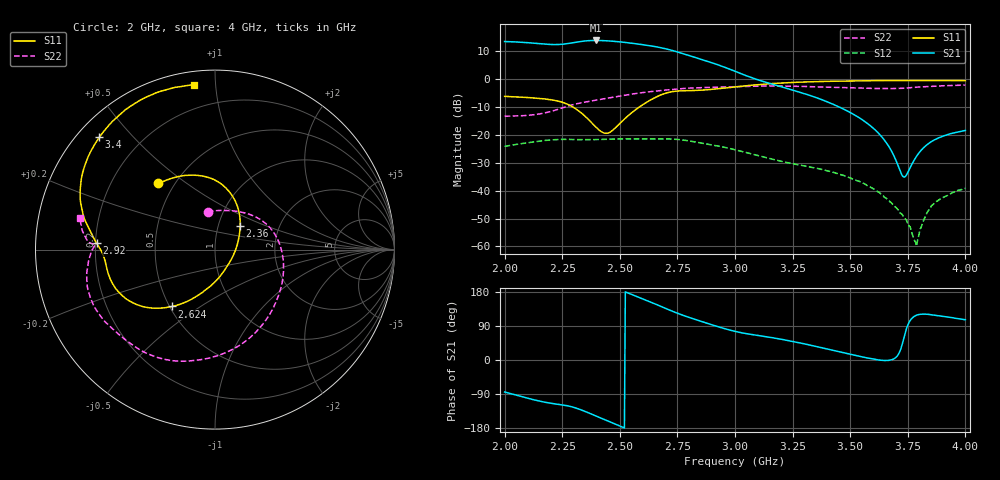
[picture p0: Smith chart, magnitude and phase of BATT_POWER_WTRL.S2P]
!Agilent Technologies,E5071C,MY46107443,A.09.30
!Date: Tue May 03 14:29:19 2016
!Data & Calibration Information:
!Freq	S11:SOLT2(ON)	S21:SOLT2(ON)	S12:SOLT2(ON)	S22:SOLT2(ON)
# Hz S dB R 50
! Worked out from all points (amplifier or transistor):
!   501 points, 2 GHz to 4 GHz, reference 50 ohm
!   highest |S21| = 13.7 dB at 2.396 GHz (marker M1)
!   |S21| within 3 dB of that: start of sweep to 2.701 GHz
!   unconditionally stable (mu >= 1): start of sweep to end of sweep
!   at 2.332 GHz: K = 1.17, MAG = 15.1 dB, |S12| = -21.8 dB
!   at 3 GHz: K = 1.83, MAG = 8.8 dB, |S12| = -25.4 dB
!   at 4 GHz: K = 22.31, MAG = -6.1 dB, |S12| = -39.2 dB
!   S11 on the Smith chart (normalised r, x): 2 GHz: 0.41, +0.39; 2.36 GHz: 1.27, +0.35; 2.624 GHz: 0.51, -0.39; 2.92 GHz: 0.20, +0.03; 3.4 GHz: 0.06, +0.40; 4 GHz: 0.07, +0.88
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2e9  -6.28 130.6  13.32 -84.5  -24.18 -114.9  -13.38 100.7
2.132e9  -6.90 115.0  12.70 -105.7  -22.53 -136.9  -12.83 72.3
2.208e9  -7.60 100.1  12.25 -114.8  -21.86 -151.3  -11.53 50.0
2.268e9  -8.93 82.2  12.52 -120.2  -21.69 -163.3  -9.95 27.1
2.336e9  -12.43 55.3  13.42 -132.5  -21.82 -174.6  -8.55 -2.3
2.36e9  -14.25 43.6  13.60 -138.4  -21.81 -178.1  -8.18 -11.8
2.396e9  -17.26 19.8  13.71 -147.7  -21.75 176.6  -7.65 -25.0
2.448e9  -19.46 -36.4  13.56 -161.2  -21.61 168.3  -6.93 -41.7
2.5e9  -15.99 -82.4  13.20 -174.3  -21.51 159.7  -6.18 -56.4
2.624e9  -8.02 -127.0  11.89 155.3  -21.52 137.9  -4.69 -85.9
2.668e9  -6.13 -139.1  11.28 144.1  -21.51 129.7  -4.30 -94.7
2.764e9  -4.33 -165.5  9.25 120.3  -21.82 108.6  -3.55 -111.5
2.92e9  -3.60 177.0  5.17 89.0  -23.99 77.5  -3.02 -133.6
3e9  -2.94 170.5  2.68 75.6  -25.38 63.3  -2.84 -142.1
3.12e9  -1.95 159.8  -0.91 62.8  -27.90 46.5  -2.58 -153.9
3.336e9  -1.06 140.8  -6.26 37.9  -31.75 24.0  -2.85 -171.1
3.4e9  -0.93 135.8  -8.24 29.0  -32.94 15.4  -2.99 -174.6
3.668e9  -0.63 117.2  -24.26 -0.9  -43.52 -17.9  -3.52 177.5
3.732e9  -0.61 113.1  -35.14 55.3  -49.34 -9.6  -3.38 177.4
3.784e9  -0.60 109.8  -28.25 117.0  -58.53 43.5  -3.04 176.6
3.86e9  -0.62 105.3  -22.11 118.9  -44.98 93.7  -2.68 173.4
4e9  -0.68 97.2  -18.49 106.3  -39.19 73.7  -2.26 166.6
